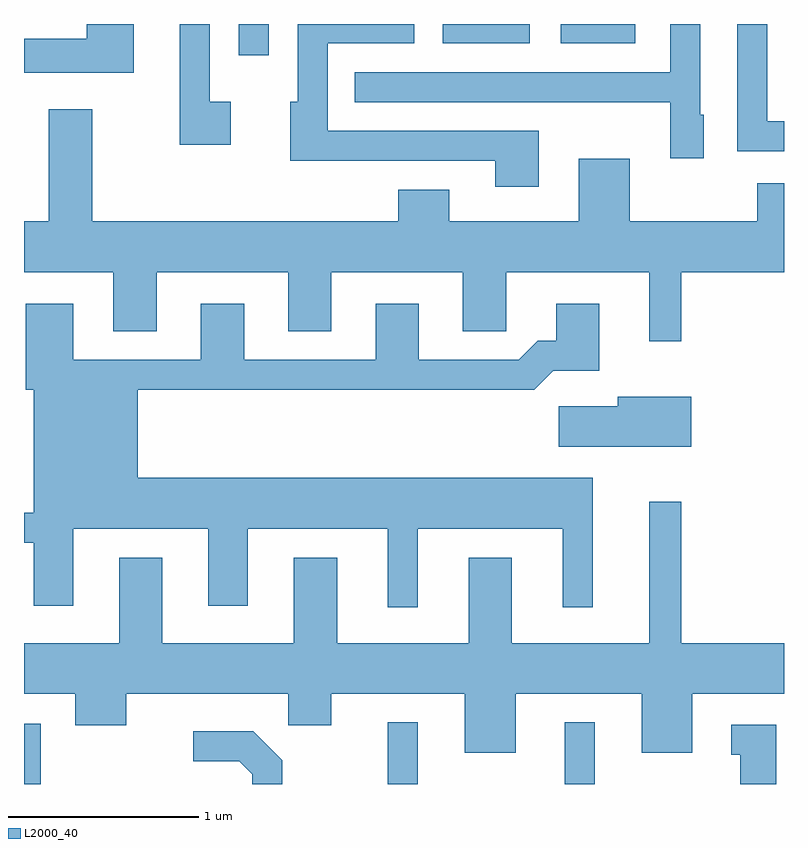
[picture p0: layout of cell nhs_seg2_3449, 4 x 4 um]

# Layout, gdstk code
import gdstk
lib = gdstk.Library(unit=1e-6, precision=1e-09)
def R(c, l, rs):  # rectangles x0, y0, x1, y1
    for r in rs: c.add(gdstk.rectangle(r[:2], r[2:], *l))
def P(c, l, *ps):  # polygons
    for p in ps: c.add(gdstk.Polygon(p, *l))
L2000_40 = (2000, 40)

nhs_seg2_3449 = lib.new_cell('nhs_seg2_3449')
R(nhs_seg2_3449, L2000_40, [(285.611,1087.802,285.699,1088.119), (287.526,1087.802,287.684,1088.128), (288.456,1087.802,288.614,1088.128), (286.741,1091.638,286.899,1091.802), (287.816,1091.701,288.274,1091.802), (288.436,1091.701,288.829,1091.802)])
P(nhs_seg2_3449, L2000_40, [(286.699,1091.394),(286.589,1091.394),(286.589,1091.802),(286.431,1091.802),(286.431,1091.166),(286.699,1091.166)],
  [(289.611,1091.289),(289.524,1091.289),(289.524,1091.802),(289.366,1091.802),(289.366,1091.131),(289.611,1091.131)],
  [(288.319,1091.239),(287.209,1091.239),(287.209,1091.701),(287.664,1091.701),(287.664,1091.802),(287.051,1091.802),(287.051,1091.394),(287.011,1091.394),(287.011,1091.081),(288.091,1091.081),(288.091,1090.946),(288.319,1090.946)],
  [(286.189,1091.802),(285.941,1091.802),(285.941,1091.724),(285.611,1091.724),(285.611,1091.546),(286.189,1091.546)],
  [(289.189,1091.324),(289.169,1091.324),(289.169,1091.802),(289.011,1091.802),(289.011,1091.549),(287.353,1091.549),(287.353,1091.391),(289.011,1091.391),(289.011,1091.096),(289.189,1091.096)],
  [(289.069,1090.496),(289.611,1090.496),(289.611,1090.964),(289.471,1090.964),(289.471,1090.764),(288.799,1090.764),(288.799,1091.094),(288.531,1091.094),(288.531,1090.764),(287.849,1090.764),(287.849,1090.929),(287.581,1090.929),(287.581,1090.764),(285.969,1090.764),(285.969,1091.354),(285.741,1091.354),(285.741,1090.764),(285.611,1090.764),(285.611,1090.496),(286.081,1090.496),(286.081,1090.186),(286.309,1090.186),(286.309,1090.496),(287.001,1090.496),(287.001,1090.186),(287.229,1090.186),(287.229,1090.496),(287.921,1090.496),(287.921,1090.186),(288.149,1090.186),(288.149,1090.496),(288.901,1090.496),(288.901,1090.133),(289.069,1090.133)],
  [(287.684,1089.146),(288.446,1089.146),(288.446,1088.733),(288.604,1088.733),(288.604,1089.414),(286.209,1089.414),(286.209,1089.876),(288.297,1089.876),(288.397,1089.976),(288.639,1089.976),(288.639,1090.329),(288.411,1090.329),(288.411,1090.134),(288.314,1090.134),(288.214,1090.034),(287.689,1090.034),(287.689,1090.329),(287.461,1090.329),(287.461,1090.034),(286.769,1090.034),(286.769,1090.329),(286.541,1090.329),(286.541,1090.034),(285.869,1090.034),(285.869,1090.329),(285.621,1090.329),(285.621,1089.876),(285.661,1089.876),(285.661,1089.229),(285.611,1089.229),(285.611,1089.071),(285.661,1089.071),(285.661,1088.741),(285.869,1088.741),(285.869,1089.146),(286.581,1089.146),(286.581,1088.741),(286.789,1088.741),(286.789,1089.146),(287.526,1089.146),(287.526,1088.733),(287.684,1088.733)],
  [(289.124,1089.839),(288.736,1089.839),(288.736,1089.789),(288.426,1089.789),(288.426,1089.576),(289.124,1089.576)],
  [(286.149,1088.276),(287.001,1088.276),(287.001,1088.111),(287.229,1088.111),(287.229,1088.276),(287.931,1088.276),(287.931,1087.966),(288.199,1087.966),(288.199,1088.276),(288.861,1088.276),(288.861,1087.966),(289.129,1087.966),(289.129,1088.276),(289.611,1088.276),(289.611,1088.544),(289.069,1088.544),(289.069,1089.288),(288.901,1089.288),(288.901,1088.544),(288.179,1088.544),(288.179,1088.994),(287.951,1088.994),(287.951,1088.544),(287.259,1088.544),(287.259,1088.994),(287.031,1088.994),(287.031,1088.544),(286.339,1088.544),(286.339,1088.994),(286.111,1088.994),(286.111,1088.544),(285.611,1088.544),(285.611,1088.276),(285.881,1088.276),(285.881,1088.111),(286.149,1088.111)],
  [(289.569,1088.114),(289.333,1088.114),(289.333,1087.956),(289.381,1087.956),(289.381,1087.802),(289.569,1087.802)],
  [(286.969,1087.927),(286.817,1088.079),(286.503,1088.079),(286.503,1087.921),(286.744,1087.921),(286.811,1087.854),(286.811,1087.802),(286.969,1087.802)])

lib.write_gds('nhs_seg2_3449.gds')
